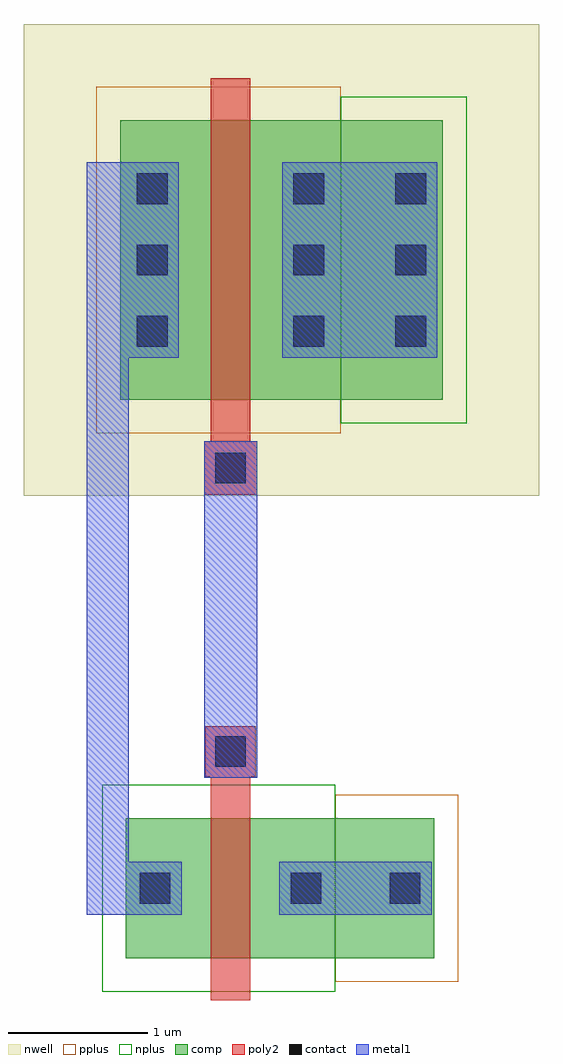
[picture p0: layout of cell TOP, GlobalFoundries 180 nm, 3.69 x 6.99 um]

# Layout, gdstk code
import gdstk
lib = gdstk.Library(unit=1e-6, precision=5e-09)
def R(c, l, rs):  # rectangles x0, y0, x1, y1
    for r in rs: c.add(gdstk.rectangle(r[:2], r[2:], *l))
def A(c, l, x, y, w, h, nx, ny, dx, dy):  # array of equal rectangles
    R(c, l, [(x+i*dx, y+j*dy, x+i*dx+w, y+j*dy+h) for i in range(nx) for j in range(ny)])
nwell = (21, 0)
comp = (22, 0)
poly2 = (30, 0)
pplus = (31, 0)
nplus = (32, 0)
contact = (33, 0)
metal1 = (34, 0)

pfet_1 = lib.new_cell('pfet$1')
R(pfet_1, nwell, [(-1.15,-0.69,2.54,2.69)])
R(pfet_1, comp, [(-0.46,0,0,2), (0,0,0.66,2), (0.66,0,1.12,2), (1.12,0,1.85,2)])
R(pfet_1, poly2, [(0.14,-0.68,0.52,-0.3), (0.19,-0.3,0.47,2.3)])
R(pfet_1, pplus, [(-0.63,-0.24,1.12,2.24)])
R(pfet_1, nplus, [(1.12,-0.17,2.02,2.17)])
A(pfet_1, contact, -0.34, 0.38, 0.22, 0.22, 1, 3, 0, 0.51)
A(pfet_1, contact, 0.78, 0.38, 0.22, 0.22, 1, 3, 0, 0.51)
A(pfet_1, contact, 1.51, 0.38, 0.22, 0.22, 1, 3, 0, 0.51)
R(pfet_1, contact, [(0.22,-0.6,0.44,-0.38)])
R(pfet_1, metal1, [(0.14,-0.68,0.52,-0.3), (-0.42,0.3,-0.04,1.7), (0.7,0.3,1.08,1.7), (1.43,0.3,1.81,1.7)])

nfet_1 = lib.new_cell('nfet$1')
R(nfet_1, comp, [(-0.42,0,0,1), (0,0,0.66,1), (0.66,0,1.08,1), (1.08,0,1.79,1)])
R(nfet_1, poly2, [(0.19,-0.3,0.47,1.3), (0.15,1.3,0.51,1.66)])
R(nfet_1, pplus, [(1.08,-0.17,1.96,1.17)])
R(nfet_1, nplus, [(-0.59,-0.24,1.08,1.24)])
R(nfet_1, contact, [(-0.32,0.39,-0.1,0.61), (0.76,0.39,0.98,0.61), (1.47,0.39,1.69,0.61), (0.22,1.37,0.44,1.59)])
R(nfet_1, metal1, [(-0.4,0.31,-0.02,0.69), (0.68,0.31,1.06,0.69), (1.39,0.31,1.77,0.69), (0.14,1.29,0.52,1.67)])

top = lib.new_cell('TOP')
R(top, metal1, [(-0.7,0.31,-0.4,5.7), (1.06,0.31,1.39,0.69), (0.14,1.67,0.52,3.32), (1.08,4.3,1.43,5.7)])
top.add(gdstk.Reference(pfet_1, (0,4)))
top.add(gdstk.Reference(nfet_1, (0,0)))

lib.write_gds('TOP.gds')
